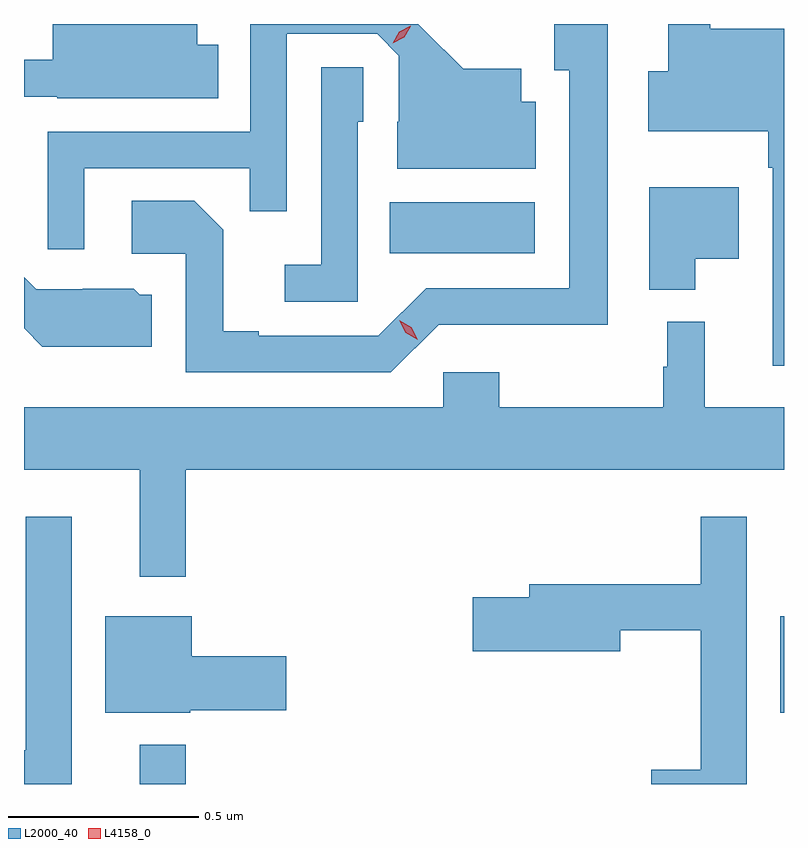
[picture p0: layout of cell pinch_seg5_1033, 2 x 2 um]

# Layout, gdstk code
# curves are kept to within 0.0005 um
import gdstk
lib = gdstk.Library(unit=1e-6, precision=1e-09)
def R(c, l, rs):  # rectangles x0, y0, x1, y1
    for r in rs: c.add(gdstk.rectangle(r[:2], r[2:], *l))
def P(c, l, *ps):  # polygons
    for p in ps: c.add(gdstk.Polygon(p, *l))
L2000_40 = (2000, 40)
L4158_0 = (4158, 0)

pinch_seg5_1033 = lib.new_cell('pinch_seg5_1033')
R(pinch_seg5_1033, L2000_40, [(694.595,837.285,694.717,837.388), (696.281,837.473,696.291,837.727), (695.254,838.682,695.635,838.816)])
P(pinch_seg5_1033, L2000_40, [(694.449,838.905),(694.885,838.905),(694.885,838.792),(694.983,838.792),(694.983,839.259),(695.22,839.259),(695.277,839.202),(695.277,839.028),(695.273,839.028),(695.273,838.904),(695.638,838.904),(695.638,839.08),(695.599,839.08),(695.599,839.167),(695.447,839.167),(695.328,839.285),(694.887,839.285),(694.887,839.001),(694.353,839.001),(694.353,838.692),(694.449,838.692)],
  [(696.291,839.272),(696.097,839.272),(696.097,839.285),(695.987,839.285),(695.987,839.161),(695.934,839.161),(695.934,839.003),(696.249,839.003),(696.249,838.907),(696.261,838.907),(696.261,838.386),(696.291,838.386)],
  [(694.802,839.23),(694.747,839.23),(694.747,839.285),(694.367,839.285),(694.367,839.191),(694.291,839.191),(694.291,839.094),(694.378,839.094),(694.378,839.09),(694.802,839.09)],
  [(695.382,838.494),(695.604,838.494),(695.604,838.493),(695.827,838.493),(695.827,839.284),(695.687,839.284),(695.687,839.163),(695.726,839.163),(695.726,838.59),(695.349,838.59),(695.223,838.464),(694.909,838.464),(694.909,838.477),(694.815,838.477),(694.815,838.744),(694.739,838.82),(694.575,838.82),(694.575,838.68),(694.716,838.68),(694.716,838.368),(695.256,838.368)],
  [(695.169,839.028),(695.184,839.028),(695.184,839.171),(695.073,839.171),(695.073,838.651),(694.977,838.651),(694.977,838.554),(695.169,838.554)],
  [(696.058,838.667),(696.172,838.667),(696.172,838.855),(695.936,838.855),(695.936,838.586),(696.058,838.586)],
  [(694.627,838.572),(694.596,838.572),(694.58,838.588),(694.446,838.588),(694.446,838.587),(694.323,838.587),(694.291,838.619),(694.291,838.485),(694.339,838.436),(694.627,838.436)],
  [(694.717,838.112),(696.291,838.112),(696.291,838.276),(696.083,838.276),(696.083,838.501),(695.984,838.501),(695.984,838.383),(695.973,838.383),(695.973,838.276),(695.541,838.276),(695.541,838.369),(695.394,838.369),(695.394,838.276),(694.291,838.276),(694.291,838.112),(694.595,838.112),(694.595,837.831),(694.717,837.831)],
  [(694.417,837.988),(694.296,837.988),(694.296,837.374),(694.291,837.374),(694.291,837.285),(694.417,837.285)],
  [(696.193,837.988),(696.072,837.988),(696.072,837.811),(695.621,837.811),(695.621,837.777),(695.472,837.777),(695.472,837.635),(695.86,837.635),(695.86,837.69),(696.072,837.69),(696.072,837.322),(695.942,837.322),(695.942,837.285),(696.193,837.285)],
  [(694.728,837.479),(694.981,837.479),(694.981,837.621),(694.732,837.621),(694.732,837.727),(694.505,837.727),(694.505,837.473),(694.728,837.473)])
P(pinch_seg5_1033, L4158_0, [(695.327,838.454),(695.296,838.473),(695.278,838.505),(695.278,838.506),(695.278,838.506),(695.31,838.487),(695.327,838.454),(695.327,838.454)],
  [(695.261,839.235),(695.261,839.235),(695.278,839.265),(695.309,839.28),(695.309,839.28),(695.309,839.279),(695.292,839.25),(695.261,839.235)])

lib.write_gds('pinch_seg5_1033.gds')
